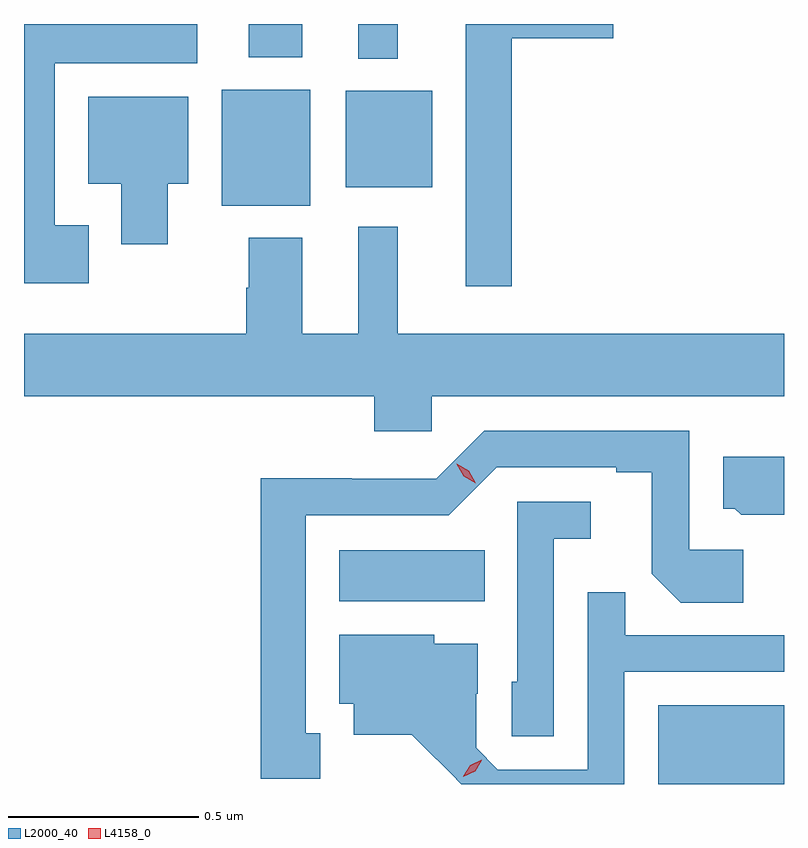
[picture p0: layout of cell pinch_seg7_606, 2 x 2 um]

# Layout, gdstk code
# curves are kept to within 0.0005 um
import gdstk
lib = gdstk.Library(unit=1e-6, precision=1e-09)
def R(c, l, rs):  # rectangles x0, y0, x1, y1
    for r in rs: c.add(gdstk.rectangle(r[:2], r[2:], *l))
def P(c, l, *ps):  # polygons
    for p in ps: c.add(gdstk.Polygon(p, *l))
L2000_40 = (2000, 40)
L4158_0 = (4158, 0)

pinch_seg7_606 = lib.new_cell('pinch_seg7_606')
R(pinch_seg7_606, L2000_40, [(170.624,1039.555,170.955,1039.762), (169.784,1040.036,170.168,1040.17), (169.475,1041.077,169.708,1041.382), (169.802,1041.125,170.029,1041.379), (169.835,1041.464,169.939,1041.555), (169.547,1041.467,169.687,1041.555)])
P(pinch_seg7_606, L2000_40, [(169.126,1041.025),(169.036,1041.025),(169.036,1041.452),(169.411,1041.452),(169.411,1041.555),(168.955,1041.555),(168.955,1040.873),(169.126,1040.873)],
  [(170.239,1041.518),(170.506,1041.518),(170.506,1041.555),(170.117,1041.555),(170.117,1040.865),(170.239,1040.865)],
  [(169.333,1041.134),(169.387,1041.134),(169.387,1041.364),(169.124,1041.364),(169.124,1041.134),(169.211,1041.134),(169.211,1040.976),(169.333,1040.976)],
  [(169.547,1040.992),(169.547,1040.861),(169.54,1040.861),(169.54,1040.74),(168.955,1040.74),(168.955,1040.576),(169.877,1040.576),(169.877,1040.483),(170.028,1040.483),(170.028,1040.576),(170.955,1040.576),(170.955,1040.74),(169.939,1040.74),(169.939,1041.022),(169.835,1041.022),(169.835,1040.74),(169.687,1040.74),(169.687,1040.992)],
  [(169.735,1039.689),(169.696,1039.689),(169.696,1040.262),(170.073,1040.262),(170.199,1040.388),(170.513,1040.388),(170.513,1040.376),(170.607,1040.376),(170.607,1040.108),(170.683,1040.032),(170.848,1040.032),(170.848,1040.172),(170.706,1040.172),(170.706,1040.484),(170.166,1040.484),(170.04,1040.358),(169.818,1040.358),(169.818,1040.36),(169.578,1040.36),(169.578,1039.569),(169.735,1039.569)],
  [(170.955,1040.416),(170.795,1040.416),(170.795,1040.28),(170.826,1040.28),(170.842,1040.264),(170.955,1040.264)],
  [(170.349,1040.201),(170.446,1040.201),(170.446,1040.298),(170.253,1040.298),(170.253,1039.824),(170.238,1039.824),(170.238,1039.681),(170.349,1039.681)],
  [(170.535,1039.851),(170.955,1039.851),(170.955,1039.947),(170.537,1039.947),(170.537,1040.06),(170.439,1040.06),(170.439,1039.593),(170.202,1039.593),(170.145,1039.65),(170.145,1039.792),(170.149,1039.792),(170.149,1039.924),(170.034,1039.924),(170.034,1039.948),(169.784,1039.948),(169.784,1039.766),(169.823,1039.766),(169.823,1039.685),(169.975,1039.685),(170.106,1039.555),(170.535,1039.555)])
P(pinch_seg7_606, L4158_0, [(170.144,1040.346),(170.112,1040.365),(170.094,1040.397),(170.094,1040.398),(170.094,1040.398),(170.126,1040.379),(170.144,1040.346),(170.144,1040.346)],
  [(170.111,1039.574),(170.111,1039.575),(170.129,1039.604),(170.16,1039.619),(170.16,1039.619),(170.16,1039.618),(170.142,1039.589),(170.111,1039.574)])

lib.write_gds('pinch_seg7_606.gds')
